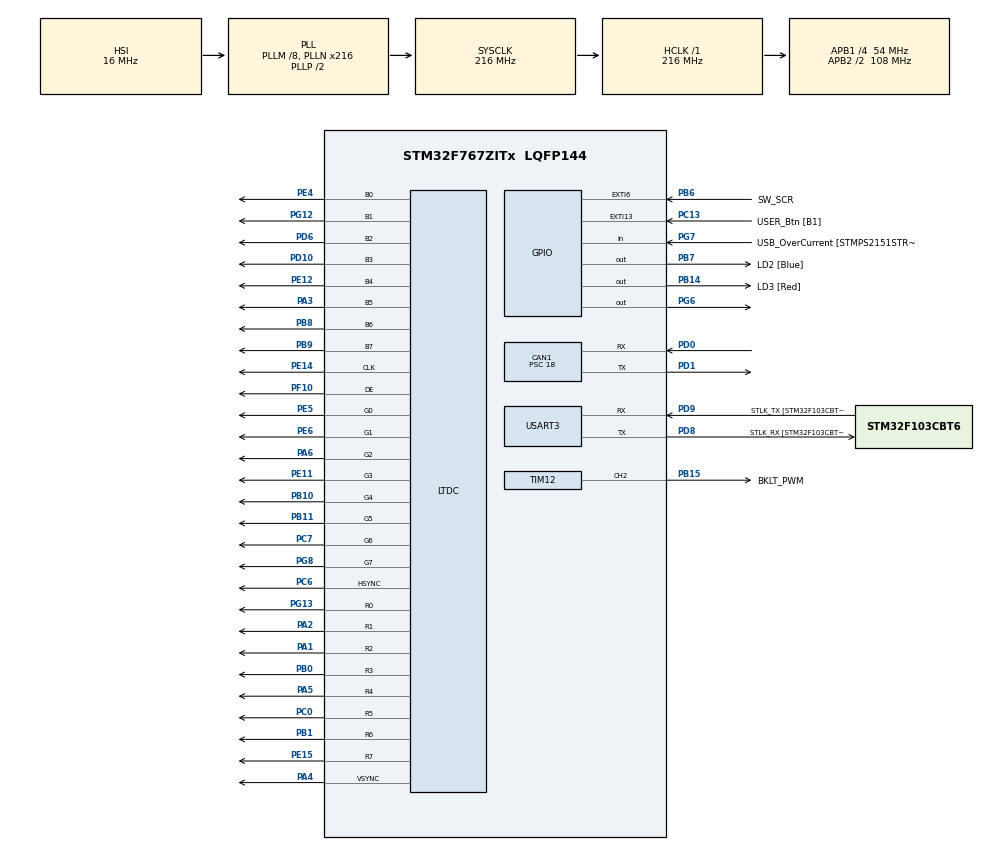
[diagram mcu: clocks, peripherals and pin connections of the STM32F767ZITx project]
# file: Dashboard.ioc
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ADC1.Channel-0\#ChannelRegularConversion=ADC_CHANNEL_TEMPSENSOR
ADC1.NbrOfConversionFlag=1
ADC1.Rank-0\#ChannelRegularConversion=1
ADC1.SamplingTime-0\#ChannelRegularConversion=ADC_SAMPLETIME_3CYCLES
ADC1.master=1
CAN1.BS1=CAN_BS1_2TQ
CAN1.BS2=CAN_BS2_3TQ
CAN1.CalculateBaudRate=499999
CAN1.CalculateTimeBit=2000
CAN1.CalculateTimeQuantum=333.33333333333337
CAN1.Prescaler=18
CAN1.SJW=CAN_SJW_2TQ
CORTEX_M7.ART_ACCELERATOR_ENABLE=1
CORTEX_M7.CPU_DCache=Disabled
CORTEX_M7.CPU_ICache=Enabled
CORTEX_M7.PREFETCH_ENABLE=1
DMA2D.ColorMode=DMA2D_OUTPUT_RGB565
LTDC.ActiveW=480
LTDC.Alpha0_L0=128
LTDC.Alpha_L0=255
LTDC.BlendingFactor1_L0=LTDC_BLENDING_FACTOR1_PAxCA
LTDC.BlendingFactor2_L0=LTDC_BLENDING_FACTOR2_PAxCA
LTDC.Blue_L0=255
LTDC.Green=0
LTDC.Green_L0=0
LTDC.HBP=40
LTDC.HFP=5
LTDC.ImageHeight_L0=RENDER_V
LTDC.ImageWidth_L0=RENDER_H
LTDC.Layers=0
LTDC.PixelFormat_L0=LTDC_PIXEL_FORMAT_RGB565
LTDC.Red=0
LTDC.Red_L0=0
LTDC.VBP=8
LTDC.VFP=8
LTDC.WindowX1_L0=RENDER_H
LTDC.WindowY1_L0=RENDER_V
Mcu.Family=STM32F7
Mcu.Name=STM32F767ZITx
Mcu.Package=LQFP144
Mcu.UserConstants=RENDER_H,480;RENDER_V,272
NVIC.CAN1_RX0_IRQn=true\:0\:0\:false\:false\:true\:true\:true\:true
NVIC.DMA2D_IRQn=true\:0\:0\:false\:false\:true\:true\:true\:true
NVIC.EXTI9_5_IRQn=true\:0\:0\:false\:false\:true\:true\:true\:true
NVIC.PriorityGroup=NVIC_PRIORITYGROUP_4
NVIC.TIM2_IRQn=true\:0\:0\:false\:false\:true\:true\:true\:true
PA1.Mode=RGB888
PA1.Signal=LTDC_R2
PA10.GPIO_Label=USB_ID
PA10.Signal=USB_OTG_FS_ID
PA11.GPIO_Label=USB_DM
PA11.Signal=USB_OTG_FS_DM
PA12.GPIO_Label=USB_DP
PA12.Signal=USB_OTG_FS_DP
PA13.GPIO_Label=TMS
PA13.Mode=Serial_Wire
PA13.Signal=SYS_JTMS-SWDIO
PA14.GPIO_Label=TCK
PA14.Mode=Serial_Wire
PA14.Signal=SYS_JTCK-SWCLK
PA2.Mode=RGB888
PA2.Signal=LTDC_R1
PA3.Mode=RGB888
PA3.Signal=LTDC_B5
PA4.Mode=RGB888
PA4.Signal=LTDC_VSYNC
PA5.Mode=RGB888
PA5.Signal=LTDC_R4
PA6.Mode=RGB888
PA6.Signal=LTDC_G2
PA7.GPIO_Label=RMII_CRS_DV [LAN8742A-CZ-TR_CRS_DV]
PA7.Signal=ETH_CRS_DV
PA8.GPIO_Label=USB_SOF [TP1]
PA8.Signal=USB_OTG_FS_SOF
PA9.GPIO_Label=USB_VBUS
PA9.Signal=USB_OTG_FS_VBUS
PB0.Mode=RGB888
PB0.Signal=LTDC_R3
PB1.Mode=RGB888
PB1.Signal=LTDC_R6
PB10.Mode=RGB888
PB10.Signal=LTDC_G4
PB11.Mode=RGB888
PB11.Signal=LTDC_G5
PB14.GPIO_Label=LD3 [Red]
PB14.Signal=GPIO_Output
PB15.GPIO_Label=BKLT_PWM
PB15.Signal=S_TIM12_CH2
PB3.GPIO_Label=SWO
PB3.Signal=SYS_JTDO-SWO
PB6.GPIO_Label=SW_SCR
PB6.Signal=GPXTI6
PB7.GPIO_Label=LD2 [Blue]
PB7.Signal=GPIO_Output
PB8.Mode=RGB888
PB8.Signal=LTDC_B6
PB9.Mode=RGB888
PB9.Signal=LTDC_B7
PC0.Mode=RGB888
PC0.Signal=LTDC_R5
PC1.GPIO_Label=RMII_MDC [LAN8742A-CZ-TR_MDC]
PC1.Signal=ETH_MDC
PC13.GPIO_Label=USER_Btn [B1]
PC13.Signal=GPXTI13
PC14/OSC32_IN.Signal=RCC_OSC32_IN
PC15/OSC32_OUT.Signal=RCC_OSC32_OUT
PC4.GPIO_Label=RMII_RXD0 [LAN8742A-CZ-TR_RXD0]
PC4.Signal=ETH_RXD0
PC5.GPIO_Label=RMII_RXD1 [LAN8742A-CZ-TR_RXD1]
PC5.Signal=ETH_RXD1
PC6.Mode=RGB888
PC6.Signal=LTDC_HSYNC
PC7.Mode=RGB888
PC7.Signal=LTDC_G6
PD0.GPIO_PuPd=GPIO_PULLUP
PD0.Mode=CAN_Activate
PD0.Signal=CAN1_RX
PD1.Mode=CAN_Activate
PD1.Signal=CAN1_TX
PD10.Mode=RGB888
PD10.Signal=LTDC_B3
PD6.Mode=RGB888
PD6.Signal=LTDC_B2
PD8.GPIO_Label=STLK_RX [STM32F103CBT6_PA3]
PD8.Mode=Asynchronous
PD8.Signal=USART3_TX
PD9.GPIO_Label=STLK_TX [STM32F103CBT6_PA2]
PD9.Mode=Asynchronous
PD9.Signal=USART3_RX
PE11.Mode=RGB888
PE11.Signal=LTDC_G3
PE12.Mode=RGB888
PE12.Signal=LTDC_B4
PE14.Mode=RGB888
PE14.Signal=LTDC_CLK
PE15.Mode=RGB888
PE15.Signal=LTDC_R7
PE4.Mode=RGB888
PE4.Signal=LTDC_B0
PE5.Mode=RGB888
PE5.Signal=LTDC_G0
PE6.Mode=RGB888
PE6.Signal=LTDC_G1
PF10.Mode=RGB888
PF10.Signal=LTDC_DE
PG12.Mode=RGB888
PG12.Signal=LTDC_B1
PG13.Mode=RGB888
PG13.Signal=LTDC_R0
PG6.Signal=GPIO_Output
PG7.GPIO_Label=USB_OverCurrent [STMPS2151STR_FAULT]
PG7.Signal=GPIO_Input
PG8.Mode=RGB888
PG8.Signal=LTDC_G7
PH0/OSC_IN.GPIO_Label=MCO [STM32F103CBT6_PA8]
PH0/OSC_IN.Signal=RCC_OSC_IN
PH1/OSC_OUT.Signal=RCC_OSC_OUT
ProjectManager.HeapSize=0x200
ProjectManager.StackSize=0x400
ProjectManager.TargetToolchain=STM32CubeIDE
RCC.48MHZClocksFreq_Value=24000000
RCC.AHBFreq_Value=216000000
RCC.APB1CLKDivider=RCC_HCLK_DIV4
RCC.APB1Freq_Value=54000000
RCC.APB1TimFreq_Value=108000000
RCC.APB2CLKDivider=RCC_HCLK_DIV2
RCC.APB2Freq_Value=108000000
RCC.APB2TimFreq_Value=216000000
RCC.CortexFreq_Value=216000000
RCC.HCLKFreq_Value=216000000
RCC.HSE_VALUE=8000000
RCC.HSI_VALUE=16000000
RCC.LSE_VALUE=32768
RCC.PLLM=8
RCC.PLLMUL=RCC_PLL_MUL9
RCC.PLLN=216
RCC.PLLQ=9
RCC.PLLSAIN=96
RCC.PLLSAIRDiv=RCC_PLLSAIDIVR_8
RCC.PRESCALERUSB=RCC_USBCLKSOURCE_PLL_DIV1_5
RCC.SYSCLKFreq_VALUE=216000000
RCC.SYSCLKSource=RCC_SYSCLKSOURCE_PLLCLK
RCC.SYSCLKSourceVirtual=RCC_SYSCLKSOURCE_PLLCLK
RCC.USBFreq_Value=48000000
RCC.VCOOutputFreq_Value=432000000
SH.S_TIM12_CH2.0=TIM12_CH2,PWM Generation2 CH2
TIM12.Channel-PWM\ Generation2\ CH2=TIM_CHANNEL_2
TIM2.Period=1000000
TIM2.Prescaler=216
USART3.VirtualMode-Asynchronous=VM_ASYNC
VP_ADC1_TempSens_Input.Mode=IN-TempSens
VP_ADC1_Vref_Input.Mode=IN-Vrefint
VP_DMA2D_VS_DMA2D.Mode=DMA2D_Activate
VP_TIM12_VS_ClockSourceINT.Mode=Internal
VP_TIM2_VS_ClockSourceINT.Mode=Internal
board=NUCLEO-F767ZI

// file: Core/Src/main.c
/* USER CODE BEGIN Header */
/**
  ******************************************************************************
  * @file           : main.c
  * @brief          : Main program body
  ******************************************************************************
  * @attention
  *
  * Copyright (c) 2024 STMicroelectronics.
  * All rights reserved.
  *
  * This software is licensed under terms that can be found in the LICENSE file
  * in the root directory of this software component.
  * If no LICENSE file comes with this software, it is provided AS-IS.
  *
  ******************************************************************************
  */
/* USER CODE END Header */
#include "main.h"

/* USER CODE BEGIN Includes */

#include "lvgl.h"
//#include "demos/stress/lv_demo_stress.h"
#include "ui.h"
#include <stdio.h>
#include "can.h"
#include "sys_can_transmit.h"
#include "sys_can_receive.h"
#include "board_specific_params.h"
#include <stdbool.h>

/* USER CODE END Includes */

ADC_HandleTypeDef hadc1;

CAN_HandleTypeDef hcan1;

DMA2D_HandleTypeDef hdma2d;

LTDC_HandleTypeDef hltdc;

TIM_HandleTypeDef htim2;
TIM_HandleTypeDef htim12;

UART_HandleTypeDef huart3;

/* USER CODE BEGIN PV */

board_param_t* dashboard_parameters;

uint16_t id;
float fval;

/* USER CODE END PV */

void SystemClock_Config(void);
static void MX_GPIO_Init(void);
static void MX_USART3_UART_Init(void);
static void MX_CAN1_Init(void);
static void MX_LTDC_Init(void);
static void MX_DMA2D_Init(void);
static void MX_TIM12_Init(void);
static void MX_ADC1_Init(void);
static void MX_TIM2_Init(void);

/* USER CODE BEGIN 0 */
void HAL_CAN_RxFifo0MsgPendingCallback(CAN_HandleTypeDef *hcan) {

	CAN_RxHeaderTypeDef header;
	can_data_t data;
	HAL_CAN_GetRxMessage(&hcan1, CAN_RX_FIFO0, &header, data.data);

	id = data.ID;
	fval = data.fval;

	if (data.ID == 4) {
		char buff[5];
		sprintf(buff, "%d", (int)data.fval);
		lv_label_set_text(ui_SpeedLabel, buff);
	}

//	can_receive_message();
//	param_handler();

	return;

	//CAN_RxHeaderTypeDef header;
//	union {
//		struct {
//			uint8_t id;
//			uint16_t inst_voltage;
//			uint16_t inst_resist;
//			uint16_t open_voltage;
//		};
//
//		struct {
//			uint32_t ID;
//			float fval;
//
//		};
//		uint8_t data[8];
//	};

//	if (data.ID == 4) {
//		char buff[5];
//		sprintf(buff, "%d", (int)data.fval);
//		lv_label_set_text(ui_SpeedLabel, buff);
//	}
//
//	if (header.StdId == 0x37) {
//		char buff[20];
//
//			sprintf(buff, "P%2d %d mV", data.id, data.inst_voltage);
//			switch(data.id) {
//			case 1:
//				lv_label_set_text(ui_Pack_1, buff);
//			break;
//			case 2:
//				lv_label_set_text(ui_Pack_25, buff);
//			break;
//			case 3:
//				lv_label_set_text(ui_Pack_3, buff);
//			break;
//			case 4:
//				lv_label_set_text(ui_Pack_, buff);
//			break;
//			case 5:
//				lv_label_set_text(ui_Pack_5, buff);
//			break;
//			case 6:
//				lv_label_set_text(ui_Pack_6, buff);
//			break;
//			case 7:
//				lv_label_set_text(ui_Pack_7, buff);
//			break;
//			case 8:
//				lv_label_set_text(ui_Pack_8, buff);
//			break;
//			case 9:
//				lv_label_set_text(ui_Pack_9, buff);
//			break;
//			case 10:
//				lv_label_set_text(ui_Pack_10, buff);
//			break;
//			case 11:
//				lv_label_set_text(ui_Pack_11, buff);
//				break;
//			case 12:
//				lv_label_set_text(ui_Pack_12, buff);
//			break;
//			case 13:
//				lv_label_set_text(ui_Pack_13, buff);
//				break;
//			case 14:
//				lv_label_set_text(ui_Pack_14, buff);
//				break;
//			case 15:
//				lv_label_set_text(ui_Pack_15, buff);
//				break;
//			case 16:
//				lv_label_set_text(ui_Pack_16, buff);
//				break;
//			case 17:
//				lv_label_set_text(ui_Pack_17, buff);
//				break;
//			case 18:
//				lv_label_set_text(ui_Pack_18, buff);
//				break;
//			case 19:
//				lv_label_set_text(ui_Pack_19, buff);
//				break;
//			case 20:
//				lv_label_set_text(ui_Pack_20, buff);
//				break;
//			case 21:
//				lv_label_set_text(ui_Pack_21, buff);
//				break;
//			case 22:
//				lv_label_set_text(ui_Pack_22, buff);
//				break;
//			case 23:
//				lv_label_set_text(ui_Pack_23, buff);
//				break;
//			case 24:
//				lv_label_set_text(ui_Pack_24, buff);
//				break;
//			}
//
//	}

}

int i = 0;

void HAL_GPIO_EXTI_Callback(uint16_t pin) {

	switch(pin) {

	case SW_SCR_Pin:

		i++;
		if (i % 2 == 0) {
			_ui_screen_change(&ui_Battery_Screen, LV_SCR_LOAD_ANIM_FADE_ON, 500, 0, ui_Battery_Screen_screen_init);
		} else {
			_ui_screen_change(&ui_Screen_Main, LV_SCR_LOAD_ANIM_FADE_ON, 500, 0, ui_Screen_Main_screen_init);
		}

		break;

	default:
		return;
		break;

	}

}
/* USER CODE END 0 */

int main(void)
{

  /* USER CODE BEGIN 1 */
  dashboard_parameters = get_params();
  /* USER CODE END 1 */

  /* Enable the CPU Cache */

  /* Enable I-Cache---------------------------------------------------------*/
  SCB_EnableICache();

  /* MCU Configuration--------------------------------------------------------*/

  /* Reset of all peripherals, Initializes the Flash interface and the Systick. */
  HAL_Init();

  /* Configure the system clock */
  SystemClock_Config();

  /* Initialize all configured peripherals */
  MX_GPIO_Init();
  MX_USART3_UART_Init();
  MX_CAN1_Init();
  MX_LTDC_Init();
  MX_DMA2D_Init();
  MX_TIM12_Init();
  MX_ADC1_Init();
  MX_TIM2_Init();
  /* USER CODE BEGIN 2 */
  HAL_CAN_Start(&hcan1);
  can_tx_init(&hcan1, dashboard_parameters);
  can_rx_init(&hcan1, dashboard_parameters);
  HAL_CAN_ActivateNotification(&hcan1, CAN_IT_RX_FIFO0_MSG_PENDING);

  // prepare temp sensor - define variable to be updated in main, start and calibrate adc with vrefint
//  HAL_ADC_Start(&hadc1);
//  HAL_ADCEx_Calibration_Start(&hadc1);

  // setup lvgl
  lv_init();
  lv_port_disp_init(&hltdc);
//  lv_demo_benchmark();
  ui_init();
  // show screen 2
  _ui_screen_change(&ui_Screen_Dark, LV_SCR_LOAD_ANIM_FADE_ON, 500, 0, ui_Screen_Dark_screen_init);
  _ui_screen_change(&ui_Screen_Loading, LV_SCR_LOAD_ANIM_FADE_ON, 500, 1000, ui_Screen_Loading_screen_init);
  _ui_screen_change(&ui_Screen_Main, LV_SCR_LOAD_ANIM_FADE_ON, 100, 5000, ui_Screen_Main_screen_init);
//  _ui_screen_change(&ui_Battery_Screen, LV_SCR_LOAD_ANIM_FADE_ON, 500, 0, ui_Battery_Screen_screen_init);

  lv_label_set_text(ui_SpeedLabel, "XX");

  /* USER CODE END 2 */

  /* Infinite loop */
  while (1)
  {

    /* USER CODE BEGIN 3 */

	lv_task_handler();  // to be added
    can_incremental_update();

  }
  /* USER CODE END 3 */
}

void SystemClock_Config(void)
{
  RCC_OscInitTypeDef RCC_OscInitStruct = {0};
  RCC_ClkInitTypeDef RCC_ClkInitStruct = {0};

  /** Configure the main internal regulator output voltage
  */
  __HAL_RCC_PWR_CLK_ENABLE();
  __HAL_PWR_VOLTAGESCALING_CONFIG(PWR_REGULATOR_VOLTAGE_SCALE1);

  /** Initializes the RCC Oscillators according to the specified parameters
  * in the RCC_OscInitTypeDef structure.
  */
  RCC_OscInitStruct.OscillatorType = RCC_OSCILLATORTYPE_HSI;
  RCC_OscInitStruct.HSIState = RCC_HSI_ON;
  RCC_OscInitStruct.HSICalibrationValue = RCC_HSICALIBRATION_DEFAULT;
  RCC_OscInitStruct.PLL.PLLState = RCC_PLL_ON;
  RCC_OscInitStruct.PLL.PLLSource = RCC_PLLSOURCE_HSI;
  RCC_OscInitStruct.PLL.PLLM = 8;
  RCC_OscInitStruct.PLL.PLLN = 216;
  RCC_OscInitStruct.PLL.PLLP = RCC_PLLP_DIV2;
  RCC_OscInitStruct.PLL.PLLQ = 9;
  RCC_OscInitStruct.PLL.PLLR = 2;
  if (HAL_RCC_OscConfig(&RCC_OscInitStruct) != HAL_OK)
  {
    Error_Handler();
  }

  /** Activate the Over-Drive mode
  */
  if (HAL_PWREx_EnableOverDrive() != HAL_OK)
  {
    Error_Handler();
  }

  /** Initializes the CPU, AHB and APB buses clocks
  */
  RCC_ClkInitStruct.ClockType = RCC_CLOCKTYPE_HCLK|RCC_CLOCKTYPE_SYSCLK
                              |RCC_CLOCKTYPE_PCLK1|RCC_CLOCKTYPE_PCLK2;
  RCC_ClkInitStruct.SYSCLKSource = RCC_SYSCLKSOURCE_PLLCLK;
  RCC_ClkInitStruct.AHBCLKDivider = RCC_SYSCLK_DIV1;
  RCC_ClkInitStruct.APB1CLKDivider = RCC_HCLK_DIV4;
  RCC_ClkInitStruct.APB2CLKDivider = RCC_HCLK_DIV2;

  if (HAL_RCC_ClockConfig(&RCC_ClkInitStruct, FLASH_LATENCY_7) != HAL_OK)
  {
    Error_Handler();
  }
}

static void MX_ADC1_Init(void)
{

  ADC_ChannelConfTypeDef sConfig = {0};

  /** Configure the global features of the ADC (Clock, Resolution, Data Alignment and number of conversion)
  */
  hadc1.Instance = ADC1;
  hadc1.Init.ClockPrescaler = ADC_CLOCK_SYNC_PCLK_DIV4;
  hadc1.Init.Resolution = ADC_RESOLUTION_12B;
  hadc1.Init.ScanConvMode = ADC_SCAN_DISABLE;
  hadc1.Init.ContinuousConvMode = DISABLE;
  hadc1.Init.DiscontinuousConvMode = DISABLE;
  hadc1.Init.ExternalTrigConvEdge = ADC_EXTERNALTRIGCONVEDGE_NONE;
  hadc1.Init.ExternalTrigConv = ADC_SOFTWARE_START;
  hadc1.Init.DataAlign = ADC_DATAALIGN_RIGHT;
  hadc1.Init.NbrOfConversion = 1;
  hadc1.Init.DMAContinuousRequests = DISABLE;
  hadc1.Init.EOCSelection = ADC_EOC_SINGLE_CONV;
  if (HAL_ADC_Init(&hadc1) != HAL_OK)
  {
    Error_Handler();
  }

  /** Configure for the selected ADC regular channel its corresponding rank in the sequencer and its sample time.
  */
  sConfig.Channel = ADC_CHANNEL_TEMPSENSOR;
  sConfig.Rank = ADC_REGULAR_RANK_1;
  sConfig.SamplingTime = ADC_SAMPLETIME_3CYCLES;
  if (HAL_ADC_ConfigChannel(&hadc1, &sConfig) != HAL_OK)
  {
    Error_Handler();
  }

}

static void MX_CAN1_Init(void)
{

  hcan1.Instance = CAN1;
  hcan1.Init.Prescaler = 18;
  hcan1.Init.Mode = CAN_MODE_NORMAL;
  hcan1.Init.SyncJumpWidth = CAN_SJW_2TQ;
  hcan1.Init.TimeSeg1 = CAN_BS1_2TQ;
  hcan1.Init.TimeSeg2 = CAN_BS2_3TQ;
  hcan1.Init.TimeTriggeredMode = DISABLE;
  hcan1.Init.AutoBusOff = DISABLE;
  hcan1.Init.AutoWakeUp = DISABLE;
  hcan1.Init.AutoRetransmission = DISABLE;
  hcan1.Init.ReceiveFifoLocked = DISABLE;
  hcan1.Init.TransmitFifoPriority = DISABLE;
  if (HAL_CAN_Init(&hcan1) != HAL_OK)
  {
    Error_Handler();
  }
  /* USER CODE BEGIN CAN1_Init 2 */

  CAN_FilterTypeDef canfilterconfig;

  canfilterconfig.FilterActivation = CAN_FILTER_ENABLE;
  canfilterconfig.FilterBank = 18;  // which filter bank to use from the assigned ones
  canfilterconfig.FilterFIFOAssignment = CAN_FILTER_FIFO0;
  canfilterconfig.FilterIdHigh = 0x000<<5; // 0x001
  canfilterconfig.FilterIdLow = 0;
  canfilterconfig.FilterMaskIdHigh = 0x000<<5; // 0x001
  canfilterconfig.FilterMaskIdLow = 0x0000;
  canfilterconfig.FilterMode = CAN_FILTERMODE_IDMASK;
  canfilterconfig.FilterScale = CAN_FILTERSCALE_32BIT;
  canfilterconfig.SlaveStartFilterBank = 20;  // how many filters to assign to the CAN1 (master can)

  HAL_CAN_ConfigFilter(&hcan1, &canfilterconfig);

  /* USER CODE END CAN1_Init 2 */

}

static void MX_DMA2D_Init(void)
{

  hdma2d.Instance = DMA2D;
  hdma2d.Init.Mode = DMA2D_M2M;
  hdma2d.Init.ColorMode = DMA2D_OUTPUT_RGB565;
  hdma2d.Init.OutputOffset = 0;
  hdma2d.LayerCfg[1].InputOffset = 0;
  hdma2d.LayerCfg[1].InputColorMode = DMA2D_INPUT_RGB565;
  hdma2d.LayerCfg[1].AlphaMode = DMA2D_NO_MODIF_ALPHA;
  hdma2d.LayerCfg[1].InputAlpha = 0;
  hdma2d.LayerCfg[1].AlphaInverted = DMA2D_REGULAR_ALPHA;
  hdma2d.LayerCfg[1].RedBlueSwap = DMA2D_RB_REGULAR;
  if (HAL_DMA2D_Init(&hdma2d) != HAL_OK)
  {
    Error_Handler();
  }
  if (HAL_DMA2D_ConfigLayer(&hdma2d, 1) != HAL_OK)
  {
    Error_Handler();
  }

}

static void MX_LTDC_Init(void)
{

  LTDC_LayerCfgTypeDef pLayerCfg = {0};

  hltdc.Instance = LTDC;
  hltdc.Init.HSPolarity = LTDC_HSPOLARITY_AL;
  hltdc.Init.VSPolarity = LTDC_VSPOLARITY_AL;
  hltdc.Init.DEPolarity = LTDC_DEPOLARITY_AL;
  hltdc.Init.PCPolarity = LTDC_PCPOLARITY_IPC;
  hltdc.Init.HorizontalSync = 7;
  hltdc.Init.VerticalSync = 3;
  hltdc.Init.AccumulatedHBP = 47;
  hltdc.Init.AccumulatedVBP = 11;
  hltdc.Init.AccumulatedActiveW = 527;
  hltdc.Init.AccumulatedActiveH = 491;
  hltdc.Init.TotalWidth = 532;
  hltdc.Init.TotalHeigh = 499;
  hltdc.Init.Backcolor.Blue = 0;
  hltdc.Init.Backcolor.Green = 0;
  hltdc.Init.Backcolor.Red = 0;
  if (HAL_LTDC_Init(&hltdc) != HAL_OK)
  {
    Error_Handler();
  }
  pLayerCfg.WindowX0 = 0;
  pLayerCfg.WindowX1 = RENDER_H;
  pLayerCfg.WindowY0 = 0;
  pLayerCfg.WindowY1 = RENDER_V;
  pLayerCfg.PixelFormat = LTDC_PIXEL_FORMAT_RGB565;
  pLayerCfg.Alpha = 255;
  pLayerCfg.Alpha0 = 128;
  pLayerCfg.BlendingFactor1 = LTDC_BLENDING_FACTOR1_PAxCA;
  pLayerCfg.BlendingFactor2 = LTDC_BLENDING_FACTOR2_PAxCA;
  pLayerCfg.FBStartAdress = 0;
  pLayerCfg.ImageWidth = RENDER_H;
  pLayerCfg.ImageHeight = RENDER_V;
  pLayerCfg.Backcolor.Blue = 255;
  pLayerCfg.Backcolor.Green = 0;
  pLayerCfg.Backcolor.Red = 0;
  if (HAL_LTDC_ConfigLayer(&hltdc, &pLayerCfg, 0) != HAL_OK)
  {
    Error_Handler();
  }

}

static void MX_TIM2_Init(void)
{

  TIM_ClockConfigTypeDef sClockSourceConfig = {0};
  TIM_MasterConfigTypeDef sMasterConfig = {0};

  htim2.Instance = TIM2;
  htim2.Init.Prescaler = 216;
  htim2.Init.CounterMode = TIM_COUNTERMODE_UP;
  htim2.Init.Period = 1000000;
  htim2.Init.ClockDivision = TIM_CLOCKDIVISION_DIV1;
  htim2.Init.AutoReloadPreload = TIM_AUTORELOAD_PRELOAD_DISABLE;
  if (HAL_TIM_Base_Init(&htim2) != HAL_OK)
  {
    Error_Handler();
  }
  sClockSourceConfig.ClockSource = TIM_CLOCKSOURCE_INTERNAL;
  if (HAL_TIM_ConfigClockSource(&htim2, &sClockSourceConfig) != HAL_OK)
  {
    Error_Handler();
  }
  sMasterConfig.MasterOutputTrigger = TIM_TRGO_RESET;
  sMasterConfig.MasterSlaveMode = TIM_MASTERSLAVEMODE_DISABLE;
  if (HAL_TIMEx_MasterConfigSynchronization(&htim2, &sMasterConfig) != HAL_OK)
  {
    Error_Handler();
  }

}

static void MX_TIM12_Init(void)
{

  TIM_ClockConfigTypeDef sClockSourceConfig = {0};
  TIM_OC_InitTypeDef sConfigOC = {0};

  htim12.Instance = TIM12;
  htim12.Init.Prescaler = 0;
  htim12.Init.CounterMode = TIM_COUNTERMODE_UP;
  htim12.Init.Period = 65535;
  htim12.Init.ClockDivision = TIM_CLOCKDIVISION_DIV1;
  htim12.Init.AutoReloadPreload = TIM_AUTORELOAD_PRELOAD_DISABLE;
  if (HAL_TIM_Base_Init(&htim12) != HAL_OK)
  {
    Error_Handler();
  }
  sClockSourceConfig.ClockSource = TIM_CLOCKSOURCE_INTERNAL;
  if (HAL_TIM_ConfigClockSource(&htim12, &sClockSourceConfig) != HAL_OK)
  {
    Error_Handler();
  }
  if (HAL_TIM_PWM_Init(&htim12) != HAL_OK)
  {
    Error_Handler();
  }
  sConfigOC.OCMode = TIM_OCMODE_PWM1;
  sConfigOC.Pulse = 0;
  sConfigOC.OCPolarity = TIM_OCPOLARITY_HIGH;
  sConfigOC.OCFastMode = TIM_OCFAST_DISABLE;
  if (HAL_TIM_PWM_ConfigChannel(&htim12, &sConfigOC, TIM_CHANNEL_2) != HAL_OK)
  {
    Error_Handler();
  }
  HAL_TIM_MspPostInit(&htim12);

}

static void MX_USART3_UART_Init(void)
{

  huart3.Instance = USART3;
  huart3.Init.BaudRate = 115200;
  huart3.Init.WordLength = UART_WORDLENGTH_8B;
  huart3.Init.StopBits = UART_STOPBITS_1;
  huart3.Init.Parity = UART_PARITY_NONE;
  huart3.Init.Mode = UART_MODE_TX_RX;
  huart3.Init.HwFlowCtl = UART_HWCONTROL_NONE;
  huart3.Init.OverSampling = UART_OVERSAMPLING_16;
  huart3.Init.OneBitSampling = UART_ONE_BIT_SAMPLE_DISABLE;
  huart3.AdvancedInit.AdvFeatureInit = UART_ADVFEATURE_NO_INIT;
  if (HAL_UART_Init(&huart3) != HAL_OK)
  {
    Error_Handler();
  }

}

static void MX_GPIO_Init(void)
{
  GPIO_InitTypeDef GPIO_InitStruct = {0};

  /* GPIO Ports Clock Enable */
  __HAL_RCC_GPIOE_CLK_ENABLE();
  __HAL_RCC_GPIOC_CLK_ENABLE();
  __HAL_RCC_GPIOF_CLK_ENABLE();
  __HAL_RCC_GPIOH_CLK_ENABLE();
  __HAL_RCC_GPIOA_CLK_ENABLE();
  __HAL_RCC_GPIOB_CLK_ENABLE();
  __HAL_RCC_GPIOD_CLK_ENABLE();
  __HAL_RCC_GPIOG_CLK_ENABLE();

  /*Configure GPIO pin Output Level */
  HAL_GPIO_WritePin(GPIOB, LD3_Pin|LD2_Pin, GPIO_PIN_RESET);

  /*Configure GPIO pin Output Level */
  HAL_GPIO_WritePin(GPIOG, GPIO_PIN_6, GPIO_PIN_RESET);

  /*Configure GPIO pin : USER_Btn_Pin */
  GPIO_InitStruct.Pin = USER_Btn_Pin;
  GPIO_InitStruct.Mode = GPIO_MODE_IT_RISING;
  GPIO_InitStruct.Pull = GPIO_NOPULL;
  HAL_GPIO_Init(USER_Btn_GPIO_Port, &GPIO_InitStruct);

  /*Configure GPIO pins : RMII_MDC_Pin RMII_RXD0_Pin RMII_RXD1_Pin */
  GPIO_InitStruct.Pin = RMII_MDC_Pin|RMII_RXD0_Pin|RMII_RXD1_Pin;
  GPIO_InitStruct.Mode = GPIO_MODE_AF_PP;
  GPIO_InitStruct.Pull = GPIO_NOPULL;
  GPIO_InitStruct.Speed = GPIO_SPEED_FREQ_VERY_HIGH;
  GPIO_InitStruct.Alternate = GPIO_AF11_ETH;
  HAL_GPIO_Init(GPIOC, &GPIO_InitStruct);

  /*Configure GPIO pin : RMII_CRS_DV_Pin */
  GPIO_InitStruct.Pin = RMII_CRS_DV_Pin;
  GPIO_InitStruct.Mode = GPIO_MODE_AF_PP;
  GPIO_InitStruct.Pull = GPIO_NOPULL;
  GPIO_InitStruct.Speed = GPIO_SPEED_FREQ_VERY_HIGH;
  GPIO_InitStruct.Alternate = GPIO_AF11_ETH;
  HAL_GPIO_Init(RMII_CRS_DV_GPIO_Port, &GPIO_InitStruct);

  /*Configure GPIO pins : LD3_Pin LD2_Pin */
  GPIO_InitStruct.Pin = LD3_Pin|LD2_Pin;
  GPIO_InitStruct.Mode = GPIO_MODE_OUTPUT_PP;
  GPIO_InitStruct.Pull = GPIO_NOPULL;
  GPIO_InitStruct.Speed = GPIO_SPEED_FREQ_LOW;
  HAL_GPIO_Init(GPIOB, &GPIO_InitStruct);

  /*Configure GPIO pin : PG6 */
  GPIO_InitStruct.Pin = GPIO_PIN_6;
  GPIO_InitStruct.Mode = GPIO_MODE_OUTPUT_PP;
  GPIO_InitStruct.Pull = GPIO_NOPULL;
  GPIO_InitStruct.Speed = GPIO_SPEED_FREQ_LOW;
  HAL_GPIO_Init(GPIOG, &GPIO_InitStruct);

  /*Configure GPIO pin : USB_OverCurrent_Pin */
  GPIO_InitStruct.Pin = USB_OverCurrent_Pin;
  GPIO_InitStruct.Mode = GPIO_MODE_INPUT;
  GPIO_InitStruct.Pull = GPIO_NOPULL;
  HAL_GPIO_Init(USB_OverCurrent_GPIO_Port, &GPIO_InitStruct);

  /*Configure GPIO pins : USB_SOF_Pin USB_ID_Pin USB_DM_Pin USB_DP_Pin */
  GPIO_InitStruct.Pin = USB_SOF_Pin|USB_ID_Pin|USB_DM_Pin|USB_DP_Pin;
  GPIO_InitStruct.Mode = GPIO_MODE_AF_PP;
  GPIO_InitStruct.Pull = GPIO_NOPULL;
  GPIO_InitStruct.Speed = GPIO_SPEED_FREQ_VERY_HIGH;
  GPIO_InitStruct.Alternate = GPIO_AF10_OTG_FS;
  HAL_GPIO_Init(GPIOA, &GPIO_InitStruct);

  /*Configure GPIO pin : USB_VBUS_Pin */
  GPIO_InitStruct.Pin = USB_VBUS_Pin;
  GPIO_InitStruct.Mode = GPIO_MODE_INPUT;
  GPIO_InitStruct.Pull = GPIO_NOPULL;
  HAL_GPIO_Init(USB_VBUS_GPIO_Port, &GPIO_InitStruct);

  /*Configure GPIO pin : SW_SCR_Pin */
  GPIO_InitStruct.Pin = SW_SCR_Pin;
  GPIO_InitStruct.Mode = GPIO_MODE_IT_RISING;
  GPIO_InitStruct.Pull = GPIO_NOPULL;
  HAL_GPIO_Init(SW_SCR_GPIO_Port, &GPIO_InitStruct);

  /* EXTI interrupt init*/
  HAL_NVIC_SetPriority(EXTI9_5_IRQn, 0, 0);
  HAL_NVIC_EnableIRQ(EXTI9_5_IRQn);

}

void Error_Handler(void)
{
  __disable_irq();
  while (1)
  {
  }
}
